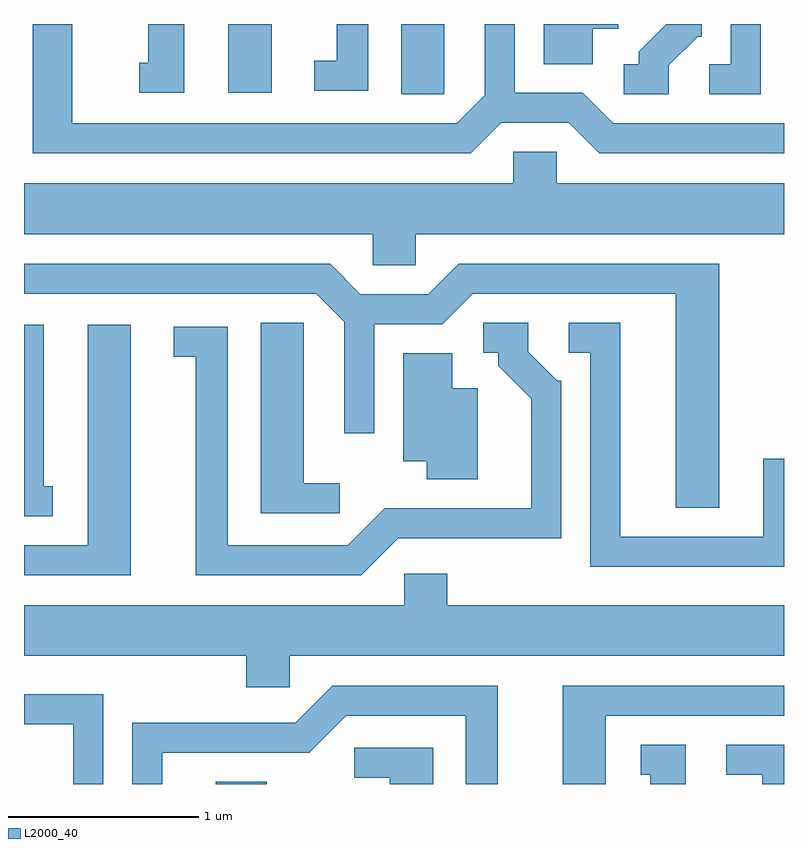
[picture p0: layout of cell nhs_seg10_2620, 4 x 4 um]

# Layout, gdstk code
import gdstk
lib = gdstk.Library(unit=1e-6, precision=1e-09)
def R(c, l, rs):  # rectangles x0, y0, x1, y1
    for r in rs: c.add(gdstk.rectangle(r[:2], r[2:], *l))
def P(c, l, *ps):  # polygons
    for p in ps: c.add(gdstk.Polygon(p, *l))
L2000_40 = (2000, 40)

nhs_seg10_2620 = lib.new_cell('nhs_seg10_2620')
R(nhs_seg10_2620, L2000_40, [(262.621,2166.522,262.889,2166.534), (263.596,2170.151,263.824,2170.522), (262.686,2170.161,262.914,2170.522)])
P(nhs_seg10_2620, L2000_40, [(262.454,2170.522),(262.266,2170.522),(262.266,2170.319),(262.218,2170.319),(262.218,2170.161),(262.454,2170.161)],
  [(264.122,2170.001),(264.479,2170.001),(264.639,2169.841),(265.611,2169.841),(265.611,2169.999),(264.712,2169.999),(264.552,2170.159),(264.194,2170.159),(264.194,2170.522),(264.036,2170.522),(264.036,2170.147),(263.889,2169.999),(261.864,2169.999),(261.864,2170.522),(261.656,2170.522),(261.656,2169.841),(263.962,2169.841)],
  [(264.604,2170.496),(264.739,2170.496),(264.739,2170.522),(264.346,2170.522),(264.346,2170.311),(264.604,2170.311)],
  [(265.004,2170.304),(265.157,2170.456),(265.179,2170.456),(265.179,2170.522),(264.991,2170.522),(264.846,2170.377),(264.846,2170.309),(264.768,2170.309),(264.768,2170.151),(265.004,2170.151)],
  [(263.424,2170.522),(263.256,2170.522),(263.256,2170.329),(263.138,2170.329),(263.138,2170.171),(263.424,2170.171)],
  [(265.489,2170.522),(265.331,2170.522),(265.331,2170.309),(265.218,2170.309),(265.218,2170.151),(265.489,2170.151)],
  [(263.674,2169.416),(265.611,2169.416),(265.611,2169.684),(264.414,2169.684),(264.414,2169.849),(264.186,2169.849),(264.186,2169.684),(261.611,2169.684),(261.611,2169.416),(263.446,2169.416),(263.446,2169.251),(263.674,2169.251)],
  [(265.269,2169.259),(263.899,2169.259),(263.739,2169.099),(263.382,2169.099),(263.222,2169.259),(261.611,2169.259),(261.611,2169.101),(263.149,2169.101),(263.296,2168.954),(263.296,2168.368),(263.454,2168.368),(263.454,2168.941),(263.812,2168.941),(263.972,2169.101),(265.041,2169.101),(265.041,2167.976),(265.269,2167.976)],
  [(265.611,2168.234),(265.501,2168.234),(265.501,2167.824),(264.749,2167.824),(264.749,2168.949),(264.478,2168.949),(264.478,2168.791),(264.591,2168.791),(264.591,2167.666),(265.611,2167.666)],
  [(263.582,2167.816),(264.439,2167.816),(264.439,2168.644),(264.417,2168.644),(264.264,2168.797),(264.264,2168.949),(264.028,2168.949),(264.028,2168.791),(264.106,2168.791),(264.106,2168.724),(264.281,2168.549),(264.281,2167.974),(263.509,2167.974),(263.314,2167.779),(262.684,2167.779),(262.684,2168.929),(262.398,2168.929),(262.398,2168.771),(262.516,2168.771),(262.516,2167.621),(263.387,2167.621)],
  [(263.273,2168.104),(263.084,2168.104),(263.084,2168.949),(262.856,2168.949),(262.856,2167.946),(263.273,2167.946)],
  [(261.763,2168.089),(261.714,2168.089),(261.714,2168.939),(261.611,2168.939),(261.611,2167.931),(261.763,2167.931)],
  [(262.174,2168.939),(261.946,2168.939),(261.946,2167.779),(261.611,2167.779),(261.611,2167.621),(262.174,2167.621)],
  [(263.999,2168.604),(263.864,2168.604),(263.864,2168.789),(263.606,2168.789),(263.606,2168.221),(263.731,2168.221),(263.731,2168.126),(263.999,2168.126)],
  [(263.009,2167.196),(265.611,2167.196),(265.611,2167.464),(263.839,2167.464),(263.839,2167.629),(263.611,2167.629),(263.611,2167.464),(261.611,2167.464),(261.611,2167.196),(262.781,2167.196),(262.781,2167.031),(263.009,2167.031)],
  [(262.339,2166.686),(263.112,2166.686),(263.307,2166.881),(263.936,2166.881),(263.936,2166.522),(264.104,2166.522),(264.104,2167.039),(263.234,2167.039),(263.039,2166.844),(262.181,2166.844),(262.181,2166.522),(262.339,2166.522)],
  [(264.674,2166.881),(265.611,2166.881),(265.611,2167.039),(264.446,2167.039),(264.446,2166.522),(264.674,2166.522)],
  [(262.029,2166.994),(261.611,2166.994),(261.611,2166.836),(261.871,2166.836),(261.871,2166.522),(262.029,2166.522)],
  [(265.094,2166.729),(264.858,2166.729),(264.858,2166.571),(264.906,2166.571),(264.906,2166.522),(265.094,2166.522)],
  [(265.611,2166.729),(265.308,2166.729),(265.308,2166.571),(265.496,2166.571),(265.496,2166.522),(265.611,2166.522)],
  [(263.764,2166.714),(263.348,2166.714),(263.348,2166.556),(263.536,2166.556),(263.536,2166.522),(263.764,2166.522)])

lib.write_gds('nhs_seg10_2620.gds')
